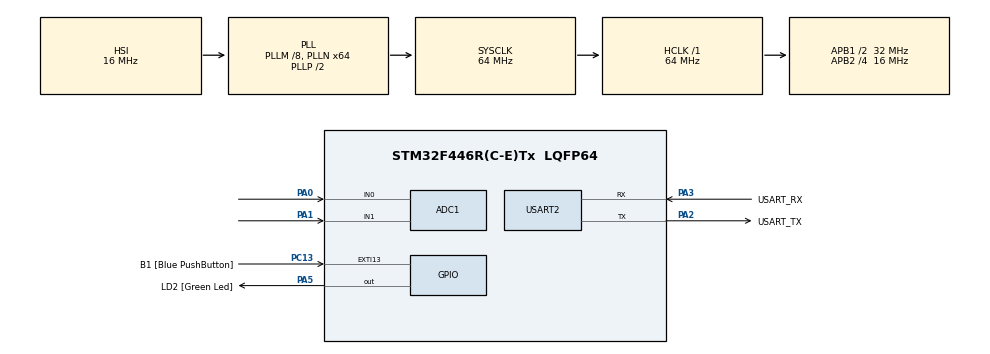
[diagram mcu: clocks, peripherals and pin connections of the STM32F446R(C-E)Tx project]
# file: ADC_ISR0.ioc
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ADC1.Channel-0\#ChannelRegularConversion=ADC_CHANNEL_1
ADC1.Channel-1\#ChannelRegularConversion=ADC_CHANNEL_0
ADC1.ClockPrescaler=ADC_CLOCK_SYNC_PCLK_DIV8
ADC1.ContinuousConvMode=ENABLE
ADC1.NbrOfConversion=2
ADC1.NbrOfConversionFlag=1
ADC1.Rank-0\#ChannelRegularConversion=1
ADC1.Rank-1\#ChannelRegularConversion=2
ADC1.SamplingTime-0\#ChannelRegularConversion=ADC_SAMPLETIME_480CYCLES
ADC1.SamplingTime-1\#ChannelRegularConversion=ADC_SAMPLETIME_3CYCLES
ADC1.master=1
Mcu.Family=STM32F4
Mcu.Name=STM32F446R(C-E)Tx
Mcu.Package=LQFP64
NVIC.ADC_IRQn=true\:0\:0\:false\:false\:true\:true\:true\:true
NVIC.PriorityGroup=NVIC_PRIORITYGROUP_0
PA0-WKUP.Signal=ADCx_IN0
PA1.Signal=ADCx_IN1
PA13.GPIO_Label=TMS
PA13.Mode=Serial_Wire
PA13.Signal=SYS_JTMS-SWDIO
PA14.GPIO_Label=TCK
PA14.Mode=Serial_Wire
PA14.Signal=SYS_JTCK-SWCLK
PA2.GPIO_Label=USART_TX
PA2.Mode=Asynchronous
PA2.Signal=USART2_TX
PA3.GPIO_Label=USART_RX
PA3.Mode=Asynchronous
PA3.Signal=USART2_RX
PA5.GPIO_Label=LD2 [Green Led]
PA5.Signal=GPIO_Output
PB3.GPIO_Label=SWO
PB3.Signal=SYS_JTDO-SWO
PC13.GPIO_Label=B1 [Blue PushButton]
PC13.GPIO_ModeDefaultEXTI=GPIO_MODE_IT_FALLING
PC13.Signal=GPXTI13
PC14-OSC32_IN.Mode=LSE-External-Oscillator
PC14-OSC32_IN.Signal=RCC_OSC32_IN
PC15-OSC32_OUT.Mode=LSE-External-Oscillator
PC15-OSC32_OUT.Signal=RCC_OSC32_OUT
PH0-OSC_IN.Mode=HSE-External-Oscillator
PH0-OSC_IN.Signal=RCC_OSC_IN
PH1-OSC_OUT.Mode=HSE-External-Oscillator
PH1-OSC_OUT.Signal=RCC_OSC_OUT
ProjectManager.HeapSize=0x200
ProjectManager.StackSize=0x400
ProjectManager.TargetToolchain=STM32CubeIDE
RCC.48MHZClocksFreq_Value=84000000
RCC.AHBFreq_Value=64000000
RCC.APB1CLKDivider=RCC_HCLK_DIV2
RCC.APB1Freq_Value=32000000
RCC.APB1TimFreq_Value=64000000
RCC.APB2CLKDivider=RCC_HCLK_DIV4
RCC.APB2Freq_Value=16000000
RCC.APB2TimFreq_Value=32000000
RCC.CortexFreq_Value=64000000
RCC.FLatency-AdvancedSettings=FLASH_LATENCY_2
RCC.HCLKFreq_Value=64000000
RCC.HSE_VALUE=8000000
RCC.HSI_VALUE=16000000
RCC.PLLM=8
RCC.PLLN=64
RCC.SYSCLKFreq_VALUE=64000000
RCC.SYSCLKSource=RCC_SYSCLKSOURCE_PLLCLK
RCC.USBFreq_Value=64000000
RCC.VCOOutputFreq_Value=128000000
SH.ADCx_IN0.0=ADC1_IN0,IN0
SH.ADCx_IN1.0=ADC1_IN1,IN1
USART2.VirtualMode=VM_ASYNC
board=NUCLEO-F446RE

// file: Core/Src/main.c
/* USER CODE BEGIN Header */
/**
  ******************************************************************************
  * @file           : main.c
  * @brief          : Main program body
  ******************************************************************************
  * @attention
  *
  * Copyright (c) 2025 STMicroelectronics.
  * All rights reserved.
  *
  * This software is licensed under terms that can be found in the LICENSE file
  * in the root directory of this software component.
  * If no LICENSE file comes with this software, it is provided AS-IS.
  *
  ******************************************************************************
  */
/* USER CODE END Header */
#include "main.h"

ADC_HandleTypeDef hadc1;

UART_HandleTypeDef huart2;

void SystemClock_Config(void);
static void MX_GPIO_Init(void);
static void MX_USART2_UART_Init(void);
static void MX_ADC1_Init(void);

/* USER CODE BEGIN 0 */
uint16_t contador = 0;
uint16_t ADCValor = 0;
uint16_t ADCValor2 = 0;
char buffer[64];
char boton[20];
/* USER CODE END 0 */

int main(void)
{

  /* MCU Configuration--------------------------------------------------------*/

  /* Reset of all peripherals, Initializes the Flash interface and the Systick. */
  HAL_Init();

  /* Configure the system clock */
  SystemClock_Config();

  /* Initialize all configured peripherals */
  MX_GPIO_Init();
  MX_USART2_UART_Init();
  MX_ADC1_Init();
  void UART_SendString(char *str) {
  	HAL_UART_Transmit(&huart2, (uint8_t*)str, strlen(str), HAL_MAX_DELAY);
  }

  /* USER CODE BEGIN 2 */
  	  HAL_ADC_Start_IT(&hadc1);
  /* USER CODE END 2 */

  /* Infinite loop */
  while (1)
  {

    /* USER CODE BEGIN 3 */
	  // Primer potenciómetro (vertical)
	  	if (ADCValor < 2048) {
	  		UART_SendString("ABAJO\r\n");
	  	} else {
	  		UART_SendString("ARRIBA\r\n");
	  	}

	  	// Segundo potenciómetro (horizontal)
	  	if (ADCValor2 < 2048) {
	  		UART_SendString("IZQUIERDA\r\n");
	  	} else {
	  		UART_SendString("DERECHA\r\n");
	  	}

	  	HAL_Delay(500); // Para no saturar el UART
  }
  /* USER CODE END 3 */
}

void SystemClock_Config(void)
{
  RCC_OscInitTypeDef RCC_OscInitStruct = {0};
  RCC_ClkInitTypeDef RCC_ClkInitStruct = {0};

  /** Configure the main internal regulator output voltage
  */
  __HAL_RCC_PWR_CLK_ENABLE();
  __HAL_PWR_VOLTAGESCALING_CONFIG(PWR_REGULATOR_VOLTAGE_SCALE3);

  /** Initializes the RCC Oscillators according to the specified parameters
  * in the RCC_OscInitTypeDef structure.
  */
  RCC_OscInitStruct.OscillatorType = RCC_OSCILLATORTYPE_HSI;
  RCC_OscInitStruct.HSIState = RCC_HSI_ON;
  RCC_OscInitStruct.HSICalibrationValue = RCC_HSICALIBRATION_DEFAULT;
  RCC_OscInitStruct.PLL.PLLState = RCC_PLL_ON;
  RCC_OscInitStruct.PLL.PLLSource = RCC_PLLSOURCE_HSI;
  RCC_OscInitStruct.PLL.PLLM = 8;
  RCC_OscInitStruct.PLL.PLLN = 64;
  RCC_OscInitStruct.PLL.PLLP = RCC_PLLP_DIV2;
  RCC_OscInitStruct.PLL.PLLQ = 2;
  RCC_OscInitStruct.PLL.PLLR = 2;
  if (HAL_RCC_OscConfig(&RCC_OscInitStruct) != HAL_OK)
  {
    Error_Handler();
  }

  /** Initializes the CPU, AHB and APB buses clocks
  */
  RCC_ClkInitStruct.ClockType = RCC_CLOCKTYPE_HCLK|RCC_CLOCKTYPE_SYSCLK
                              |RCC_CLOCKTYPE_PCLK1|RCC_CLOCKTYPE_PCLK2;
  RCC_ClkInitStruct.SYSCLKSource = RCC_SYSCLKSOURCE_PLLCLK;
  RCC_ClkInitStruct.AHBCLKDivider = RCC_SYSCLK_DIV1;
  RCC_ClkInitStruct.APB1CLKDivider = RCC_HCLK_DIV2;
  RCC_ClkInitStruct.APB2CLKDivider = RCC_HCLK_DIV4;

  if (HAL_RCC_ClockConfig(&RCC_ClkInitStruct, FLASH_LATENCY_2) != HAL_OK)
  {
    Error_Handler();
  }
}

static void MX_ADC1_Init(void)
{

  ADC_ChannelConfTypeDef sConfig = {0};

  /** Configure the global features of the ADC (Clock, Resolution, Data Alignment and number of conversion)
  */
  hadc1.Instance = ADC1;
  hadc1.Init.ClockPrescaler = ADC_CLOCK_SYNC_PCLK_DIV8;
  hadc1.Init.Resolution = ADC_RESOLUTION_12B;
  hadc1.Init.ScanConvMode = ENABLE;
  hadc1.Init.ContinuousConvMode = ENABLE;
  hadc1.Init.DiscontinuousConvMode = DISABLE;
  hadc1.Init.ExternalTrigConvEdge = ADC_EXTERNALTRIGCONVEDGE_NONE;
  hadc1.Init.ExternalTrigConv = ADC_SOFTWARE_START;
  hadc1.Init.DataAlign = ADC_DATAALIGN_RIGHT;
  hadc1.Init.NbrOfConversion = 2;
  hadc1.Init.DMAContinuousRequests = DISABLE;
  hadc1.Init.EOCSelection = ADC_EOC_SINGLE_CONV;
  if (HAL_ADC_Init(&hadc1) != HAL_OK)
  {
    Error_Handler();
  }

  /** Configure for the selected ADC regular channel its corresponding rank in the sequencer and its sample time.
  */
  sConfig.Channel = ADC_CHANNEL_1;
  sConfig.Rank = 1;
  sConfig.SamplingTime = ADC_SAMPLETIME_480CYCLES;
  if (HAL_ADC_ConfigChannel(&hadc1, &sConfig) != HAL_OK)
  {
    Error_Handler();
  }

  /** Configure for the selected ADC regular channel its corresponding rank in the sequencer and its sample time.
  */
  sConfig.Channel = ADC_CHANNEL_0;
  sConfig.Rank = 2;
  sConfig.SamplingTime = ADC_SAMPLETIME_3CYCLES;
  if (HAL_ADC_ConfigChannel(&hadc1, &sConfig) != HAL_OK)
  {
    Error_Handler();
  }

}

static void MX_USART2_UART_Init(void)
{

  huart2.Instance = USART2;
  huart2.Init.BaudRate = 115200;
  huart2.Init.WordLength = UART_WORDLENGTH_8B;
  huart2.Init.StopBits = UART_STOPBITS_1;
  huart2.Init.Parity = UART_PARITY_NONE;
  huart2.Init.Mode = UART_MODE_TX_RX;
  huart2.Init.HwFlowCtl = UART_HWCONTROL_NONE;
  huart2.Init.OverSampling = UART_OVERSAMPLING_16;
  if (HAL_UART_Init(&huart2) != HAL_OK)
  {
    Error_Handler();
  }

}

static void MX_GPIO_Init(void)
{
  GPIO_InitTypeDef GPIO_InitStruct = {0};

  /* GPIO Ports Clock Enable */
  __HAL_RCC_GPIOC_CLK_ENABLE();
  __HAL_RCC_GPIOH_CLK_ENABLE();
  __HAL_RCC_GPIOA_CLK_ENABLE();
  __HAL_RCC_GPIOB_CLK_ENABLE();

  /*Configure GPIO pin Output Level */
  HAL_GPIO_WritePin(LD2_GPIO_Port, LD2_Pin, GPIO_PIN_RESET);

  /*Configure GPIO pin : B1_Pin */
  GPIO_InitStruct.Pin = B1_Pin;
  GPIO_InitStruct.Mode = GPIO_MODE_IT_FALLING;
  GPIO_InitStruct.Pull = GPIO_NOPULL;
  HAL_GPIO_Init(B1_GPIO_Port, &GPIO_InitStruct);

  /*Configure GPIO pin : LD2_Pin */
  GPIO_InitStruct.Pin = LD2_Pin;
  GPIO_InitStruct.Mode = GPIO_MODE_OUTPUT_PP;
  GPIO_InitStruct.Pull = GPIO_NOPULL;
  GPIO_InitStruct.Speed = GPIO_SPEED_FREQ_LOW;
  HAL_GPIO_Init(LD2_GPIO_Port, &GPIO_InitStruct);

}

/* USER CODE BEGIN 4 */
void HAL_ADC_ConvCpltCallback(ADC_HandleTypeDef *hadc){
	if(hadc->Instance == ADC1){
			ADCValor  = HAL_ADC_GetValue(hadc);     // Lee primer canal
			HAL_ADC_PollForConversion(hadc, HAL_MAX_DELAY);
			ADCValor2 = HAL_ADC_GetValue(hadc);     // Lee segundo canal
			// HAL_ADC_Start_IT(hadc); // si querés reiniciar conversión aquí
		}
	//HAL_ADC_Start_IT(&hadc1);
}
/* USER CODE END 4 */

void Error_Handler(void)
{
  __disable_irq();
  while (1)
  {
  }
}
